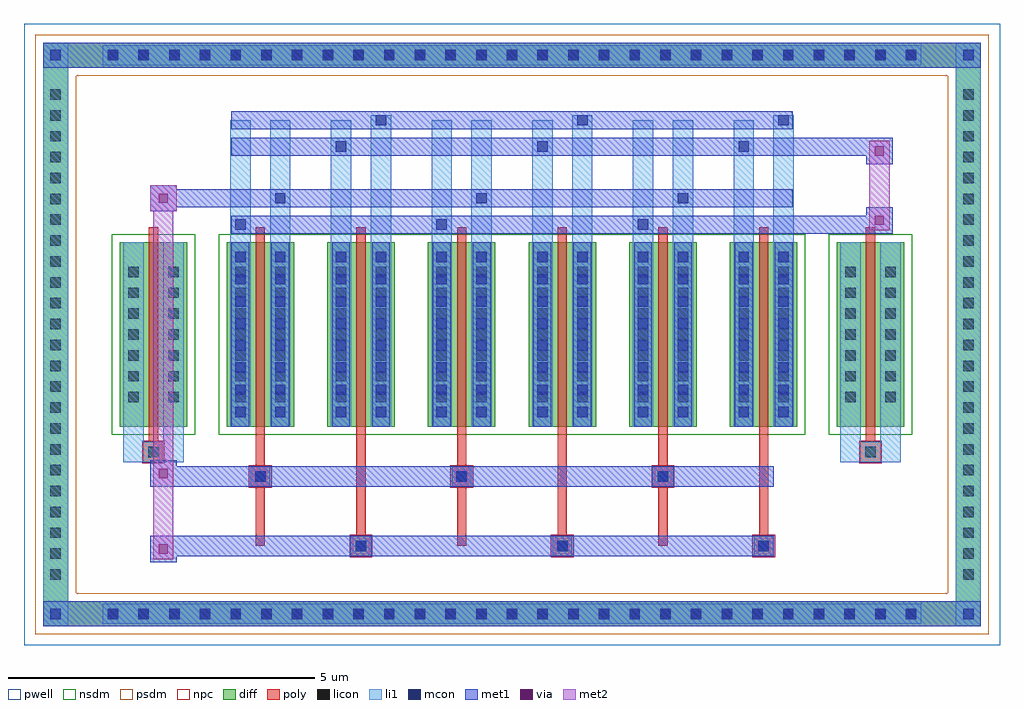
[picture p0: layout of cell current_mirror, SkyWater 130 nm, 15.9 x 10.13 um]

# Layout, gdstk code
import gdstk
lib = gdstk.Library(unit=1e-6, precision=5e-09)
def R(c, l, rs):  # rectangles x0, y0, x1, y1
    for r in rs: c.add(gdstk.rectangle(r[:2], r[2:], *l))
def A(c, l, x, y, w, h, nx, ny, dx, dy):  # array of equal rectangles
    R(c, l, [(x+i*dx, y+j*dy, x+i*dx+w, y+j*dy+h) for i in range(nx) for j in range(ny)])
def P(c, l, *ps):  # polygons
    for p in ps: c.add(gdstk.Polygon(p, *l))
pwell = (64, 44)
diff = (65, 20)
poly = (66, 20)
licon = (66, 44)
li1 = (67, 20)
mcon = (67, 44)
met1 = (68, 20)
via = (68, 44)
met2 = (69, 20)
nsdm = (93, 44)
psdm = (94, 20)
npc = (95, 20)

c_route_a2243917 = lib.new_cell('c_route_a2243917')
R(c_route_a2243917, met1, [(4.57,1.645,6.2,1.935), (5.77,1.645,6.2,2.075), (5.77,2.775,6.2,3.205), (4.57,2.915,6.2,3.205)])
R(c_route_a2243917, via, [(5.91,1.785,6.06,1.935), (5.91,2.915,6.06,3.065)])
R(c_route_a2243917, met2, [(5.82,1.695,6.15,2.025), (5.82,1.695,6.15,3.155), (5.82,2.825,6.15,3.155)])
P(c_route_a2243917, met2, [(6.15,1.695),(6.15,1.695),(6.15,2.025),(6.15,2.025)],
  [(6.15,2.825),(6.15,2.825),(6.15,3.155),(6.15,3.155)])

c_route_b6b6c580 = lib.new_cell('c_route_b6b6c580')
R(c_route_b6b6c580, met1, [(-5.895,-3.71,-5.465,-3.28), (-5.895,-3.61,-4.265,-3.28), (-5.895,-2.48,-4.265,-2.15), (-5.895,-2.48,-5.465,-2.05)])
R(c_route_b6b6c580, via, [(-5.755,-3.57,-5.605,-3.42), (-5.755,-2.34,-5.605,-2.19)])
R(c_route_b6b6c580, met2, [(-5.845,-3.66,-5.515,-3.33), (-5.845,-3.66,-5.515,-2.1), (-5.845,-2.43,-5.515,-2.1)])
P(c_route_b6b6c580, met2, [(-5.515,-3.66),(-5.515,-3.66),(-5.515,-3.33),(-5.515,-3.33)],
  [(-5.515,-2.43),(-5.515,-2.43),(-5.515,-2.1),(-5.515,-2.1)])

l_route_70abd88a = lib.new_cell('L_route_70abd88a')
R(l_route_70abd88a, met1, [(-5.895,2.005,-5.465,2.435), (-5.845,2.075,-4.57,2.365)])
R(l_route_70abd88a, via, [(-5.755,2.145,-5.605,2.295)])
R(l_route_70abd88a, met2, [(-5.845,-2.1,-5.515,2.365), (-5.895,2.005,-5.465,2.435), (-5.845,2.055,-5.515,2.385)])

transformed_892db74f = lib.new_cell('transformed_892db74f')
R(transformed_892db74f, pwell, [(-6.7,-3.81,6.7,3.815)])
A(transformed_892db74f, diff, -4.65, -1.5, 1.1, 3, 6, 1, 1.64, 0)
R(transformed_892db74f, diff, [(-6.39,-1.5,-5.29,1.5), (5.29,-1.5,6.39,1.5)])
A(transformed_892db74f, poly, -4.175, -3.445, 0.15, 1.695, 3, 1, 3.28, 0)
A(transformed_892db74f, poly, -2.535, -3.28, 0.15, 1.53, 3, 1, 3.28, 0)
A(transformed_892db74f, poly, -4.175, -2.15, 0.15, 0.4, 3, 1, 3.28, 0)
A(transformed_892db74f, poly, -4.175, -1.75, 0.15, 3.5, 6, 1, 1.64, 0)
R(transformed_892db74f, poly, [(-2.625,-3.61,-2.295,-3.28), (-2.625,-3.61,-2.295,-3.28), (0.655,-3.61,0.985,-3.28), (0.655,-3.61,0.985,-3.28), (3.935,-3.61,4.265,-3.28), (3.935,-3.61,4.265,-3.28), (-4.265,-2.48,-3.935,-2.15), (-4.265,-2.48,-3.935,-2.15), (-0.985,-2.48,-0.655,-2.15), (-0.985,-2.48,-0.655,-2.15), (2.295,-2.48,2.625,-2.15), (2.295,-2.48,2.625,-2.15), (-6.005,-2.08,-5.675,-1.75), (-6.005,-2.08,-5.675,-1.75), (5.675,-2.08,6.005,-1.75), (5.675,-2.08,6.005,-1.75), (-5.915,-1.75,-5.765,1.75), (5.765,-1.75,5.915,1.75)])
A(transformed_892db74f, licon, -2.545, -3.53, 0.17, 0.17, 3, 1, 3.28, 0)
A(transformed_892db74f, licon, -4.185, -2.4, 0.17, 0.17, 3, 1, 3.28, 0)
A(transformed_892db74f, licon, -6.25, -1.105, 0.17, 0.17, 1, 7, 0, 0.34)
A(transformed_892db74f, licon, -5.6, -1.105, 0.17, 0.17, 1, 7, 0, 0.34)
A(transformed_892db74f, licon, -4.51, -1.105, 0.17, 0.17, 1, 7, 0, 0.34)
A(transformed_892db74f, licon, -3.86, -1.105, 0.17, 0.17, 1, 7, 0, 0.34)
A(transformed_892db74f, licon, -2.87, -1.105, 0.17, 0.17, 1, 7, 0, 0.34)
A(transformed_892db74f, licon, -2.22, -1.105, 0.17, 0.17, 1, 7, 0, 0.34)
A(transformed_892db74f, licon, -1.23, -1.105, 0.17, 0.17, 1, 7, 0, 0.34)
A(transformed_892db74f, licon, -0.58, -1.105, 0.17, 0.17, 1, 7, 0, 0.34)
A(transformed_892db74f, licon, 0.41, -1.105, 0.17, 0.17, 1, 7, 0, 0.34)
A(transformed_892db74f, licon, 1.06, -1.105, 0.17, 0.17, 1, 7, 0, 0.34)
A(transformed_892db74f, licon, 2.05, -1.105, 0.17, 0.17, 1, 7, 0, 0.34)
A(transformed_892db74f, licon, 2.7, -1.105, 0.17, 0.17, 1, 7, 0, 0.34)
A(transformed_892db74f, licon, 3.69, -1.105, 0.17, 0.17, 1, 7, 0, 0.34)
A(transformed_892db74f, licon, 4.34, -1.105, 0.17, 0.17, 1, 7, 0, 0.34)
A(transformed_892db74f, licon, 5.43, -1.105, 0.17, 0.17, 1, 7, 0, 0.34)
A(transformed_892db74f, licon, 6.08, -1.105, 0.17, 0.17, 1, 7, 0, 0.34)
R(transformed_892db74f, licon, [(-5.925,-2,-5.755,-1.83), (5.755,-2,5.925,-1.83)])
A(transformed_892db74f, li1, -2.625, -3.61, 0.33, 0.33, 3, 1, 3.28, 0)
A(transformed_892db74f, li1, -4.265, -2.48, 0.33, 0.33, 3, 1, 3.28, 0)
A(transformed_892db74f, li1, -4.51, -1.345, 0.17, 0.17, 1, 8, 0, 0.36)
A(transformed_892db74f, li1, -3.86, -1.345, 0.17, 0.17, 1, 8, 0, 0.36)
A(transformed_892db74f, li1, -2.87, -1.345, 0.17, 0.17, 1, 8, 0, 0.36)
A(transformed_892db74f, li1, -2.22, -1.345, 0.17, 0.17, 1, 8, 0, 0.36)
A(transformed_892db74f, li1, -1.23, -1.345, 0.17, 0.17, 1, 8, 0, 0.36)
A(transformed_892db74f, li1, -0.58, -1.345, 0.17, 0.17, 1, 8, 0, 0.36)
A(transformed_892db74f, li1, 0.41, -1.345, 0.17, 0.17, 1, 8, 0, 0.36)
A(transformed_892db74f, li1, 1.06, -1.345, 0.17, 0.17, 1, 8, 0, 0.36)
A(transformed_892db74f, li1, 2.05, -1.345, 0.17, 0.17, 1, 8, 0, 0.36)
A(transformed_892db74f, li1, 2.7, -1.345, 0.17, 0.17, 1, 8, 0, 0.36)
A(transformed_892db74f, li1, 3.69, -1.345, 0.17, 0.17, 1, 8, 0, 0.36)
A(transformed_892db74f, li1, 4.34, -1.345, 0.17, 0.17, 1, 8, 0, 0.36)
A(transformed_892db74f, li1, -6.33, -1.185, 0.33, 0.33, 1, 7, 0, 0.34)
A(transformed_892db74f, li1, -5.68, -1.185, 0.33, 0.33, 1, 7, 0, 0.34)
A(transformed_892db74f, li1, -4.59, -1.185, 0.33, 0.33, 1, 7, 0, 0.34)
A(transformed_892db74f, li1, -3.94, -1.185, 0.33, 0.33, 1, 7, 0, 0.34)
A(transformed_892db74f, li1, -2.95, -1.185, 0.33, 0.33, 1, 7, 0, 0.34)
A(transformed_892db74f, li1, -2.3, -1.185, 0.33, 0.33, 1, 7, 0, 0.34)
A(transformed_892db74f, li1, -1.31, -1.185, 0.33, 0.33, 1, 7, 0, 0.34)
A(transformed_892db74f, li1, -0.66, -1.185, 0.33, 0.33, 1, 7, 0, 0.34)
A(transformed_892db74f, li1, 0.33, -1.185, 0.33, 0.33, 1, 7, 0, 0.34)
A(transformed_892db74f, li1, 0.98, -1.185, 0.33, 0.33, 1, 7, 0, 0.34)
A(transformed_892db74f, li1, 1.97, -1.185, 0.33, 0.33, 1, 7, 0, 0.34)
A(transformed_892db74f, li1, 2.62, -1.185, 0.33, 0.33, 1, 7, 0, 0.34)
A(transformed_892db74f, li1, 3.61, -1.185, 0.33, 0.33, 1, 7, 0, 0.34)
A(transformed_892db74f, li1, 4.26, -1.185, 0.33, 0.33, 1, 7, 0, 0.34)
A(transformed_892db74f, li1, 5.35, -1.185, 0.33, 0.33, 1, 7, 0, 0.34)
A(transformed_892db74f, li1, 6, -1.185, 0.33, 0.33, 1, 7, 0, 0.34)
A(transformed_892db74f, li1, -4.59, 1.5, 0.33, 0.375, 3, 1, 3.28, 0)
A(transformed_892db74f, li1, -3.94, 1.5, 0.33, 0.805, 3, 1, 3.28, 0)
A(transformed_892db74f, li1, -2.95, 1.5, 0.33, 1.645, 3, 1, 3.28, 0)
A(transformed_892db74f, li1, -2.3, 1.5, 0.33, 2.075, 3, 1, 3.28, 0)
A(transformed_892db74f, li1, -4.51, 1.705, 0.17, 0.17, 3, 1, 3.28, 0)
A(transformed_892db74f, li1, -3.86, 2.135, 0.17, 0.17, 3, 1, 3.28, 0)
A(transformed_892db74f, li1, -2.87, 2.975, 0.17, 0.17, 3, 1, 3.28, 0)
A(transformed_892db74f, li1, -2.22, 3.405, 0.17, 0.17, 3, 1, 3.28, 0)
R(transformed_892db74f, li1, [(-6.33,-2.08,-6.005,-1.75), (-6.33,-2.08,-6,-1.5), (-6.005,-2.08,-5.675,-1.75), (-5.68,-2.08,-5.35,-1.5), (-5.675,-2.08,-5.35,-1.75), (5.35,-2.08,5.675,-1.75), (5.35,-2.08,5.68,-1.5), (5.675,-2.08,6.005,-1.75), (6,-2.08,6.33,-1.5), (6.005,-2.08,6.33,-1.75), (-6.33,-1.5,-6,1.5), (-5.68,-1.5,-5.35,1.5), (-4.59,-1.5,-4.26,1.5), (-3.94,-1.5,-3.61,1.5), (-2.95,-1.5,-2.62,1.5), (-2.3,-1.5,-1.97,1.5), (-1.31,-1.5,-0.98,1.5), (-0.66,-1.5,-0.33,1.5), (0.33,-1.5,0.66,1.5), (0.98,-1.5,1.31,1.5), (1.97,-1.5,2.3,1.5), (2.62,-1.5,2.95,1.5), (3.61,-1.5,3.94,1.5), (4.26,-1.5,4.59,1.5), (5.35,-1.5,5.68,1.5), (6,-1.5,6.33,1.5), (-4.51,-1.345,-4.34,1.345), (-3.86,-1.345,-3.69,1.345), (-2.87,-1.345,-2.7,1.345), (-2.22,-1.345,-2.05,1.345), (-1.23,-1.345,-1.06,1.345), (-0.58,-1.345,-0.41,1.345), (0.41,-1.345,0.58,1.345), (1.06,-1.345,1.23,1.345), (2.05,-1.345,2.22,1.345), (2.7,-1.345,2.87,1.345), (3.69,-1.345,3.86,1.345), (4.34,-1.345,4.51,1.345), (-4.59,1.5,-4.26,3.49), (-3.94,1.5,-3.61,3.49), (-2.95,1.5,-2.62,3.49), (-2.3,1.5,-1.97,3.49), (-1.31,1.5,-0.98,3.49), (-0.66,1.5,-0.33,3.49), (0.33,1.5,0.66,3.49), (0.98,1.5,1.31,3.49), (1.97,1.5,2.3,3.49), (2.62,1.5,2.95,3.49), (3.61,1.5,3.94,3.49), (4.26,1.5,4.59,3.49)])
A(transformed_892db74f, mcon, -2.545, -3.53, 0.17, 0.17, 3, 1, 3.28, 0)
A(transformed_892db74f, mcon, -4.185, -2.4, 0.17, 0.17, 3, 1, 3.28, 0)
A(transformed_892db74f, mcon, -4.51, -1.345, 0.17, 0.17, 1, 8, 0, 0.36)
A(transformed_892db74f, mcon, -3.86, -1.345, 0.17, 0.17, 1, 8, 0, 0.36)
A(transformed_892db74f, mcon, -2.87, -1.345, 0.17, 0.17, 1, 8, 0, 0.36)
A(transformed_892db74f, mcon, -2.22, -1.345, 0.17, 0.17, 1, 8, 0, 0.36)
A(transformed_892db74f, mcon, -1.23, -1.345, 0.17, 0.17, 1, 8, 0, 0.36)
A(transformed_892db74f, mcon, -0.58, -1.345, 0.17, 0.17, 1, 8, 0, 0.36)
A(transformed_892db74f, mcon, 0.41, -1.345, 0.17, 0.17, 1, 8, 0, 0.36)
A(transformed_892db74f, mcon, 1.06, -1.345, 0.17, 0.17, 1, 8, 0, 0.36)
A(transformed_892db74f, mcon, 2.05, -1.345, 0.17, 0.17, 1, 8, 0, 0.36)
A(transformed_892db74f, mcon, 2.7, -1.345, 0.17, 0.17, 1, 8, 0, 0.36)
A(transformed_892db74f, mcon, 3.69, -1.345, 0.17, 0.17, 1, 8, 0, 0.36)
A(transformed_892db74f, mcon, 4.34, -1.345, 0.17, 0.17, 1, 8, 0, 0.36)
A(transformed_892db74f, mcon, -4.51, 1.705, 0.17, 0.17, 3, 1, 3.28, 0)
A(transformed_892db74f, mcon, -3.86, 2.135, 0.17, 0.17, 3, 1, 3.28, 0)
A(transformed_892db74f, mcon, -2.87, 2.975, 0.17, 0.17, 3, 1, 3.28, 0)
A(transformed_892db74f, mcon, -2.22, 3.405, 0.17, 0.17, 3, 1, 3.28, 0)
A(transformed_892db74f, met1, -2.625, -3.61, 0.33, 0.33, 3, 1, 3.28, 0)
A(transformed_892db74f, met1, -2.605, -3.59, 0.29, 0.29, 3, 1, 3.28, 0)
A(transformed_892db74f, met1, -4.265, -2.48, 0.33, 0.33, 3, 1, 3.28, 0)
A(transformed_892db74f, met1, -4.245, -2.46, 0.29, 0.29, 3, 1, 3.28, 0)
A(transformed_892db74f, met1, -4.57, -1.405, 0.29, 0.29, 1, 8, 0, 0.36)
A(transformed_892db74f, met1, -3.92, -1.405, 0.29, 0.29, 1, 8, 0, 0.36)
A(transformed_892db74f, met1, -2.93, -1.405, 0.29, 0.29, 1, 8, 0, 0.36)
A(transformed_892db74f, met1, -2.28, -1.405, 0.29, 0.29, 1, 8, 0, 0.36)
A(transformed_892db74f, met1, -1.29, -1.405, 0.29, 0.29, 1, 8, 0, 0.36)
A(transformed_892db74f, met1, -0.64, -1.405, 0.29, 0.29, 1, 8, 0, 0.36)
A(transformed_892db74f, met1, 0.35, -1.405, 0.29, 0.29, 1, 8, 0, 0.36)
A(transformed_892db74f, met1, 1, -1.405, 0.29, 0.29, 1, 8, 0, 0.36)
A(transformed_892db74f, met1, 1.99, -1.405, 0.29, 0.29, 1, 8, 0, 0.36)
A(transformed_892db74f, met1, 2.64, -1.405, 0.29, 0.29, 1, 8, 0, 0.36)
A(transformed_892db74f, met1, 3.63, -1.405, 0.29, 0.29, 1, 8, 0, 0.36)
A(transformed_892db74f, met1, 4.28, -1.405, 0.29, 0.29, 1, 8, 0, 0.36)
A(transformed_892db74f, met1, -4.57, 1.645, 0.29, 0.29, 3, 1, 3.28, 0)
A(transformed_892db74f, met1, -4.57, 1.645, 0.94, 0.29, 3, 2, 3.28, 0.43)
A(transformed_892db74f, met1, -3.92, 2.075, 0.29, 0.29, 3, 1, 3.28, 0)
A(transformed_892db74f, met1, -2.93, 2.915, 0.29, 0.29, 3, 1, 3.28, 0)
A(transformed_892db74f, met1, -2.93, 2.915, 0.94, 0.29, 3, 2, 3.28, 0.43)
A(transformed_892db74f, met1, -2.28, 3.345, 0.29, 0.29, 3, 1, 3.28, 0)
R(transformed_892db74f, met1, [(-4.265,-3.61,4.265,-3.28), (-4.265,-2.48,4.265,-2.15), (-4.57,-1.5,-4.28,1.5), (-3.92,-1.5,-3.63,1.5), (-2.93,-1.5,-2.64,1.5), (-2.28,-1.5,-1.99,1.5), (-1.29,-1.5,-1,1.5), (-0.64,-1.5,-0.35,1.5), (0.35,-1.5,0.64,1.5), (1,-1.5,1.29,1.5), (1.99,-1.5,2.28,1.5), (2.64,-1.5,2.93,1.5), (3.63,-1.5,3.92,1.5), (4.28,-1.5,4.57,1.5), (-4.57,1.645,4.57,1.935), (-4.57,2.075,4.57,2.365), (-4.57,2.915,4.57,3.205), (-4.57,3.345,4.57,3.635)])
A(transformed_892db74f, nsdm, -4.78, -1.63, 1.36, 3.26, 6, 1, 1.64, 0)
R(transformed_892db74f, nsdm, [(-6.52,-1.63,-5.16,1.63), (-4.78,-1.63,4.78,1.63), (5.16,-1.63,6.52,1.63)])
R(transformed_892db74f, npc, [(-2.645,-3.63,-2.275,-3.26), (-2.645,-3.63,-2.275,-3.26), (0.635,-3.63,1.005,-3.26), (0.635,-3.63,1.005,-3.26), (3.915,-3.63,4.285,-3.26), (-4.285,-2.5,-3.915,-2.13), (-1.005,-2.5,-0.635,-2.13), (-1.005,-2.5,-0.635,-2.13), (2.275,-2.5,2.645,-2.13), (2.275,-2.5,2.645,-2.13), (-6.025,-2.1,-5.655,-1.73), (5.655,-2.1,6.025,-1.73)])
transformed_892db74f.add(gdstk.Reference(c_route_a2243917, (0,0)))
transformed_892db74f.add(gdstk.Reference(c_route_b6b6c580, (0,0)))
transformed_892db74f.add(gdstk.Reference(l_route_70abd88a, (0,0)))

unnamed_c15dafb3_1 = lib.new_cell('Unnamed_c15dafb3$1')
A(unnamed_c15dafb3_1, diff, -6.705, -4.755, 0.41, 0.41, 27, 2, 0.5, 9.1)
A(unnamed_c15dafb3_1, diff, -7.64, -4.115, 0.41, 0.41, 1, 24, 0, 0.34)
A(unnamed_c15dafb3_1, diff, 7.23, -4.115, 0.41, 0.41, 1, 24, 0, 0.34)
R(unnamed_c15dafb3_1, diff, [(-6.705,-4.755,6.705,-4.345), (-7.64,-4.115,-7.23,4.115), (7.23,-4.115,7.64,4.115), (-6.705,4.345,6.705,4.755)])
P(unnamed_c15dafb3_1, diff, [(7.64,4.755),(-7.64,4.755),(-7.64,-4.345),(-7.23,-4.345),(-7.23,4.345),(7.23,4.345),(7.23,-4.345),(-7.23,-4.345),(-7.64,-4.345),(-7.64,-4.755),(7.64,-4.755)])
A(unnamed_c15dafb3_1, licon, -6.585, -4.635, 0.17, 0.17, 27, 2, 0.5, 9.1)
A(unnamed_c15dafb3_1, licon, -7.52, -3.995, 0.17, 0.17, 1, 24, 0, 0.34)
A(unnamed_c15dafb3_1, licon, 7.35, -3.995, 0.17, 0.17, 1, 24, 0, 0.34)
A(unnamed_c15dafb3_1, li1, -6.665, -4.715, 0.33, 0.33, 27, 2, 0.5, 9.1)
A(unnamed_c15dafb3_1, li1, -7.6, -4.075, 0.33, 0.33, 1, 24, 0, 0.34)
A(unnamed_c15dafb3_1, li1, 7.27, -4.075, 0.33, 0.33, 1, 24, 0, 0.34)
R(unnamed_c15dafb3_1, li1, [(-7.64,-4.755,-7.23,-4.345), (7.23,-4.755,7.64,-4.345), (-6.665,-4.715,6.665,-4.385), (-7.52,-4.635,-7.35,-4.465), (-7.52,-4.635,-7.35,-4.465), (7.35,-4.635,7.52,-4.465), (7.35,-4.635,7.52,-4.465), (-7.64,-4.345,-7.23,4.345), (7.23,-4.345,7.64,4.345), (-7.64,4.345,-7.23,4.755), (7.23,4.345,7.64,4.755), (-6.665,4.385,6.665,4.715), (-7.52,4.465,-7.35,4.635), (-7.52,4.465,-7.35,4.635), (7.35,4.465,7.52,4.635), (7.35,4.465,7.52,4.635)])
A(unnamed_c15dafb3_1, mcon, -6.585, -4.635, 0.17, 0.17, 27, 2, 0.5, 9.1)
R(unnamed_c15dafb3_1, mcon, [(-7.52,-4.635,-7.35,-4.465), (7.35,-4.635,7.52,-4.465), (-7.52,4.465,-7.35,4.635), (7.35,4.465,7.52,4.635)])
A(unnamed_c15dafb3_1, met1, -6.645, -4.695, 0.29, 0.29, 27, 2, 0.5, 9.1)
R(unnamed_c15dafb3_1, met1, [(-7.64,-4.755,-7.23,-4.345), (-7.64,-4.755,-7.23,-4.345), (-7.23,-4.755,7.23,-4.345), (7.23,-4.755,7.64,-4.345), (7.23,-4.755,7.64,-4.345), (-7.58,-4.695,-7.29,-4.405), (7.29,-4.695,7.58,-4.405), (-7.64,4.345,-7.23,4.755), (-7.64,4.345,-7.23,4.755), (-7.23,4.345,7.23,4.755), (7.23,4.345,7.64,4.755), (7.23,4.345,7.64,4.755), (-7.58,4.405,-7.29,4.695), (7.29,4.405,7.58,4.695)])
P(unnamed_c15dafb3_1, psdm, [(7.77,4.885),(-7.77,4.885),(-7.77,-4.215),(-7.1,-4.215),(-7.1,4.215),(7.1,4.215),(7.1,-4.215),(-7.1,-4.215),(-7.77,-4.215),(-7.77,-4.885),(7.77,-4.885)])

current_mirror = lib.new_cell('current_mirror')
R(current_mirror, pwell, [(-7.95,-5.065,7.95,5.065)])
current_mirror.add(gdstk.Reference(transformed_892db74f, (0,0)))
current_mirror.add(gdstk.Reference(unnamed_c15dafb3_1, (0,0)))

lib.write_gds('current_mirror.gds')
